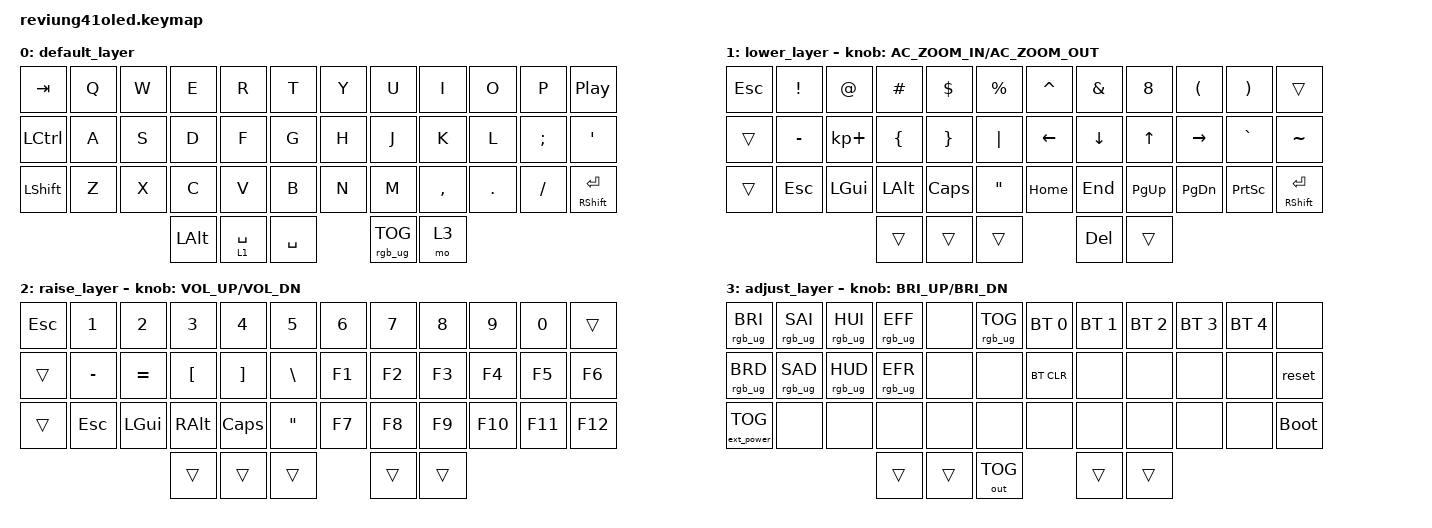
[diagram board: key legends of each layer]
/*
 * Copyright (c) 2020 The ZMK Contributors
 *
 * SPDX-License-Identifier: MIT
 */

#include <behaviors.dtsi>
#include <dt-bindings/zmk/bt.h>
#include <dt-bindings/zmk/ext_power.h>
#include <dt-bindings/zmk/keys.h>
#include <dt-bindings/zmk/outputs.h>
#include <dt-bindings/zmk/rgb.h>

/ {
    keymap {
        compatible = "zmk,keymap";

        default_layer {
            // -------------------------------------------------------------------------------------
            // |  TAB |  Q  |  W  |  E  |  R  |  T  |   |  Y  |  U   |  I  |  O  |  P  |   BKSP    |
            // | CTRL |  A  |  S  |  D  |  F  |  G  |   |  H  |  J   |  K  |  L  |  ;  |    '      |
            // | SHFT |  Z  |  X  |  C  |  V  |  B  |   |  N  |  M   |  ,  |  .  |  /  | SHFT(RET) |
            //                         | ALT | LWR | SPC | RSE  | ALT |

            bindings = <
&kp TAB    &kp Q  &kp W  &kp E     &kp R        &kp T             &kp Y  &kp U            &kp I      &kp O    &kp P     &kp C_PP
&kp LCTRL  &kp A  &kp S  &kp D     &kp F        &kp G             &kp H  &kp J            &kp K      &kp L    &kp SEMI  &kp SQT
&kp LSHFT  &kp Z  &kp X  &kp C     &kp V        &kp B             &kp N  &kp M            &kp COMMA  &kp DOT  &kp FSLH  &mt RSHFT RET
                         &kp LALT  &lt 1 SPACE         &kp SPACE         &rgb_ug RGB_TOG  &mo 3
            >;
        };

        lower_layer {
            // ----------------------------------------------------------------------------------
            // |    |  !  |  @  |  #  |  $  |  %  |   |  ^  |  &  |  *  |  (  |  )  |    DEL    |
            // |    |  _  |  +  |  {  |  }  | "|" |   | LFT | DWN |  UP | RGT |  `  |     ~     |
            // |    | ESC | GUI | ALT | CAPS|  "  |   | HOME| END | PGUP| PGDN| PRSC| SHFT(RET) |
            //                       |     |     | RET | ADJ |     |

            bindings = <
&kp ESC  &kp EXCL   &kp AT       &kp HASH  &kp DLLR  &kp PRCNT          &kp CARET  &kp AMPS  &kp N8     &kp LPAR   &kp RPAR   &trans
&trans   &kp MINUS  &kp KP_PLUS  &kp LBRC  &kp RBRC  &kp PIPE           &kp LEFT   &kp DOWN  &kp UP     &kp RIGHT  &kp GRAVE  &kp TILDE
&trans   &kp ESC    &kp LGUI     &kp LALT  &kp CLCK  &kp DQT            &kp HOME   &kp END   &kp PG_UP  &kp PG_DN  &kp PSCRN  &mt RSHFT RET
                                 &trans    &trans               &trans             &kp DEL   &trans
            >;

            sensor-bindings = <&inc_dec_kp C_AC_ZOOM_IN C_AC_ZOOM_OUT>;
        };

        raise_layer {
            // -----------------------------------------------------------------------------------------
            // |    |  1  |  2  |  3  |  4  |  5  |   |  6  |  7  |  8  |  9  |  0  | DEL |
            // |    |  -  |  =  |  [  |  ]  |  \  |   | F1  | F2  | F3  | F4  | F5  | F6  |
            // |    | ESC | GUI | ALT | CAPS|  "  |   | F7  | F8  | F9  | F10 | F11 | F12 |
            //                       |     | ADJ | BKSP |    |     |

            bindings = <
&kp ESC  &kp N1     &kp N2     &kp N3    &kp N4    &kp N5            &kp N6  &kp N7  &kp N8  &kp N9   &kp N0   &trans
&trans   &kp MINUS  &kp EQUAL  &kp LBKT  &kp RBKT  &kp BSLH          &kp F1  &kp F2  &kp F3  &kp F4   &kp F5   &kp F6
&trans   &kp ESC    &kp LGUI   &kp RALT  &kp CLCK  &kp DQT           &kp F7  &kp F8  &kp F9  &kp F10  &kp F11  &kp F12
                               &trans    &trans              &trans          &trans  &trans
            >;

            sensor-bindings = <&inc_dec_kp C_VOL_UP C_VOL_DN>;
        };

        adjust_layer {
            // -----------------------------------------------------------------------------------------
            // | RGB BRI+ | RGB SAT+ | RGB HUE+ | RGB ANI+ |    | RGB TOG |   |  BT1  | BT2 | BT3 | BT4 | BT5 | BT CLR |
            // | RGB BRI- | RGB SAT- | RGB HUE- | RGB ANI- |    |         |   |       |     |     |     |     |        |
            // |          |          |          |          |    |         |   |       |     |     |     |     |        |
            //                                              |     |     |     |     |     |

            bindings = <
&rgb_ug RGB_BRI    &rgb_ug RGB_SAI  &rgb_ug RGB_HUI  &rgb_ug RGB_EFF  &none   &rgb_ug RGB_TOG                &bt BT_SEL 0  &bt BT_SEL 1  &bt BT_SEL 2  &bt BT_SEL 3  &bt BT_SEL 4  &none
&rgb_ug RGB_BRD    &rgb_ug RGB_SAD  &rgb_ug RGB_HUD  &rgb_ug RGB_EFR  &none   &none                          &bt BT_CLR    &none         &none         &none         &none         &reset
&ext_power EP_TOG  &none            &none            &none            &none   &none                          &none         &none         &none         &none         &none         &bootloader
                                                     &trans           &trans                   &out OUT_TOG                &trans        &trans
            >;

            sensor-bindings = <&inc_dec_kp C_BRI_UP C_BRI_DN>;
        };
    };
};
